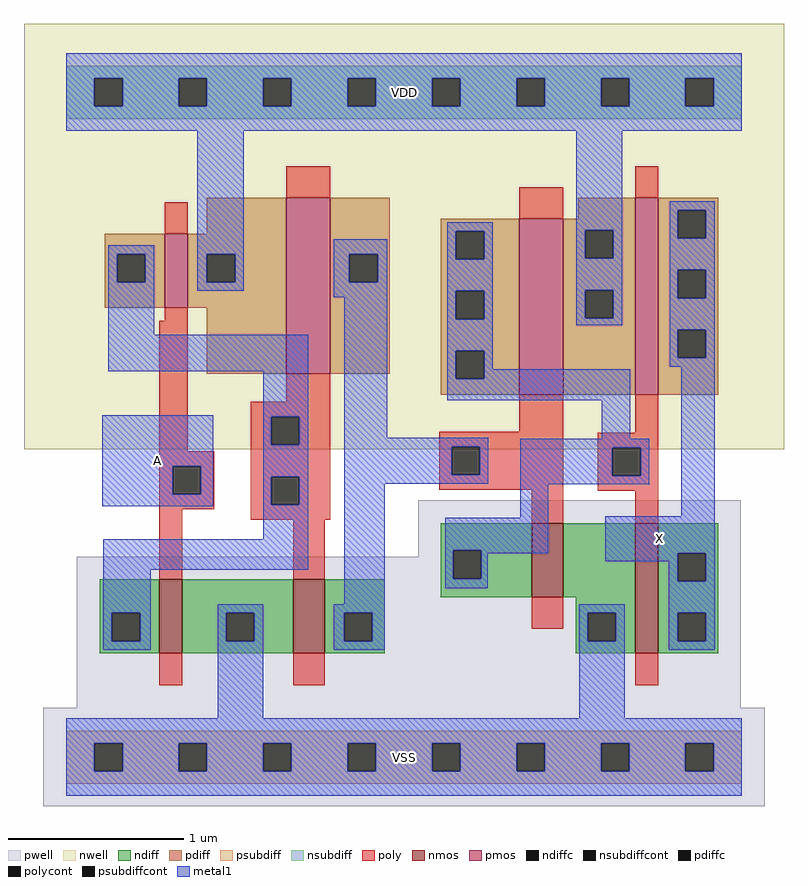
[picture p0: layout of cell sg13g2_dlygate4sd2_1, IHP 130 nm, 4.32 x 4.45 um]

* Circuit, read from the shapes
.subckt sg13g2_dlygate4sd2_1 X VDD VSS A
XM1 VSS A n1 VSS sg13_lv_nmos w=0.42u l=0.13u
XM2 n2 n1 VSS VSS sg13_lv_nmos w=0.42u l=0.18u
XM3 VSS n2 n3 VSS sg13_lv_nmos w=0.42u l=0.18u
XM4 X n3 VSS VSS sg13_lv_nmos w=0.74u l=0.13u
XM5 VDD A n1 VDD sg13_lv_pmos w=0.42u l=0.13u
XM6 n2 n1 VDD VDD sg13_lv_pmos w=1u l=0.25u
XM7 VDD n2 n3 VDD sg13_lv_pmos w=1u l=0.25u
XM8 X n3 VDD VDD sg13_lv_pmos w=1.12u l=0.13u
.ends

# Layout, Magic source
magic
tech ihp-sg13g2
magscale 1 2
<< nwell >>
rect -48 350 816 834
<< pwell >>
rect 400 228 767 292
rect 12 56 767 228
rect -26 -56 794 56
<< nmos >>
rect 106 118 132 202
rect 258 118 294 202
rect 529 182 565 266
rect 647 118 673 266
<< pmos >>
rect 112 511 138 595
rect 250 436 300 636
rect 515 412 565 612
rect 647 412 673 636
<< ndiff >>
rect 426 235 529 266
rect 426 203 440 235
rect 472 203 529 235
rect 38 164 106 202
rect 38 132 52 164
rect 84 132 106 164
rect 38 118 106 132
rect 132 164 258 202
rect 132 132 182 164
rect 214 132 258 164
rect 132 118 258 132
rect 294 164 362 202
rect 426 182 529 203
rect 565 182 647 266
rect 294 132 316 164
rect 348 132 362 164
rect 579 164 647 182
rect 294 118 362 132
rect 579 132 593 164
rect 625 132 647 164
rect 579 118 647 132
rect 673 232 741 266
rect 673 200 695 232
rect 727 200 741 232
rect 673 164 741 200
rect 673 132 695 164
rect 727 132 741 164
rect 673 118 741 132
<< pdiff >>
rect 160 595 250 636
rect 44 572 112 595
rect 44 540 58 572
rect 90 540 112 572
rect 44 511 112 540
rect 138 572 250 595
rect 138 540 160 572
rect 192 540 250 572
rect 138 511 250 540
rect 160 436 250 511
rect 300 572 368 636
rect 582 612 647 636
rect 300 540 322 572
rect 354 540 368 572
rect 300 436 368 540
rect 426 598 515 612
rect 426 566 443 598
rect 475 566 515 598
rect 426 530 515 566
rect 426 498 443 530
rect 475 498 515 530
rect 426 462 515 498
rect 426 430 443 462
rect 475 430 515 462
rect 426 412 515 430
rect 565 599 647 612
rect 565 567 590 599
rect 622 567 647 599
rect 565 531 647 567
rect 565 499 590 531
rect 622 499 647 531
rect 565 412 647 499
rect 673 622 741 636
rect 673 590 695 622
rect 727 590 741 622
rect 673 554 741 590
rect 673 522 695 554
rect 727 522 741 554
rect 673 486 741 522
rect 673 454 695 486
rect 727 454 741 486
rect 673 412 741 454
<< ndiffc >>
rect 440 203 472 235
rect 52 132 84 164
rect 182 132 214 164
rect 316 132 348 164
rect 593 132 625 164
rect 695 200 727 232
rect 695 132 727 164
<< pdiffc >>
rect 58 540 90 572
rect 160 540 192 572
rect 322 540 354 572
rect 443 566 475 598
rect 443 498 475 530
rect 443 430 475 462
rect 590 567 622 599
rect 590 499 622 531
rect 695 590 727 622
rect 695 522 727 554
rect 695 454 727 486
<< psubdiff >>
rect 0 16 768 30
rect 0 -16 32 16
rect 64 -16 128 16
rect 160 -16 224 16
rect 256 -16 320 16
rect 352 -16 416 16
rect 448 -16 512 16
rect 544 -16 608 16
rect 640 -16 704 16
rect 736 -16 768 16
rect 0 -30 768 -16
<< nsubdiff >>
rect 0 772 768 786
rect 0 740 32 772
rect 64 740 128 772
rect 160 740 224 772
rect 256 740 320 772
rect 352 740 416 772
rect 448 740 512 772
rect 544 740 608 772
rect 640 740 704 772
rect 736 740 768 772
rect 0 726 768 740
<< psubdiffcont >>
rect 32 -16 64 16
rect 128 -16 160 16
rect 224 -16 256 16
rect 320 -16 352 16
rect 416 -16 448 16
rect 512 -16 544 16
rect 608 -16 640 16
rect 704 -16 736 16
<< nsubdiffcont >>
rect 32 740 64 772
rect 128 740 160 772
rect 224 740 256 772
rect 320 740 352 772
rect 416 740 448 772
rect 512 740 544 772
rect 608 740 640 772
rect 704 740 736 772
<< poly >>
rect 250 636 300 672
rect 112 595 138 631
rect 112 496 138 511
rect 106 348 138 496
rect 515 612 565 648
rect 647 636 673 672
rect 250 404 300 436
rect 210 387 300 404
rect 210 355 233 387
rect 265 355 300 387
rect 515 370 565 412
rect 106 331 168 348
rect 106 299 121 331
rect 153 299 168 331
rect 106 282 168 299
rect 210 319 300 355
rect 210 287 233 319
rect 265 287 300 319
rect 424 353 565 370
rect 647 369 673 412
rect 424 321 438 353
rect 470 321 565 353
rect 424 304 565 321
rect 106 202 132 282
rect 210 270 300 287
rect 258 202 294 270
rect 529 266 565 304
rect 604 352 673 369
rect 604 320 621 352
rect 653 320 673 352
rect 604 303 673 320
rect 647 266 673 303
rect 529 146 565 182
rect 106 82 132 118
rect 258 82 294 118
rect 647 82 673 118
<< polycont >>
rect 233 355 265 387
rect 121 299 153 331
rect 233 287 265 319
rect 438 321 470 353
rect 621 320 653 352
<< metal1 >>
rect 0 772 768 800
rect 0 740 32 772
rect 64 740 128 772
rect 160 740 224 772
rect 256 740 320 772
rect 352 740 416 772
rect 448 740 512 772
rect 544 740 608 772
rect 640 740 704 772
rect 736 740 768 772
rect 0 712 768 740
rect 48 572 100 582
rect 48 540 58 572
rect 90 540 100 572
rect 48 480 100 540
rect 149 572 202 712
rect 433 598 485 608
rect 149 540 160 572
rect 192 540 202 572
rect 149 530 202 540
rect 304 572 365 589
rect 304 540 322 572
rect 354 540 365 572
rect 304 523 365 540
rect 48 439 275 480
rect 41 331 167 389
rect 41 299 121 331
rect 153 299 167 331
rect 41 285 167 299
rect 224 387 275 439
rect 224 355 233 387
rect 265 355 275 387
rect 224 319 275 355
rect 224 287 233 319
rect 265 287 275 319
rect 224 248 275 287
rect 42 213 275 248
rect 316 363 365 523
rect 433 566 443 598
rect 475 566 485 598
rect 433 530 485 566
rect 433 498 443 530
rect 475 498 485 530
rect 433 462 485 498
rect 580 599 632 712
rect 580 567 590 599
rect 622 567 632 599
rect 580 531 632 567
rect 580 499 590 531
rect 622 499 632 531
rect 580 491 632 499
rect 686 622 737 632
rect 686 590 695 622
rect 727 590 737 622
rect 686 554 737 590
rect 686 522 695 554
rect 727 522 737 554
rect 433 430 443 462
rect 475 441 485 462
rect 686 486 737 522
rect 686 454 695 486
rect 727 454 737 486
rect 686 444 737 454
rect 475 430 641 441
rect 433 406 641 430
rect 316 353 480 363
rect 609 362 641 406
rect 316 321 438 353
rect 470 321 480 353
rect 316 311 480 321
rect 516 352 663 362
rect 516 320 621 352
rect 653 320 663 352
rect 42 164 96 213
rect 316 174 362 311
rect 516 310 663 320
rect 516 272 548 310
rect 699 274 737 444
rect 431 235 548 272
rect 431 203 440 235
rect 472 232 548 235
rect 613 232 737 274
rect 472 203 479 232
rect 613 223 695 232
rect 431 192 479 203
rect 685 200 695 223
rect 727 200 737 232
rect 42 132 52 164
rect 84 132 96 164
rect 42 122 96 132
rect 172 164 224 174
rect 172 132 182 164
rect 214 132 224 164
rect 172 44 224 132
rect 304 164 362 174
rect 304 132 316 164
rect 348 132 362 164
rect 304 122 362 132
rect 583 164 635 174
rect 583 132 593 164
rect 625 132 635 164
rect 583 44 635 132
rect 685 164 737 200
rect 685 132 695 164
rect 727 132 737 164
rect 685 122 737 132
rect 0 16 768 44
rect 0 -16 32 16
rect 64 -16 128 16
rect 160 -16 224 16
rect 256 -16 320 16
rect 352 -16 416 16
rect 448 -16 512 16
rect 544 -16 608 16
rect 640 -16 704 16
rect 736 -16 768 16
rect 0 -44 768 -16
<< labels >>
flabel metal1 s 613 223 737 274 0 FreeSans 400 0 0 0 X
port 2 nsew
flabel metal1 s 0 712 768 800 0 FreeSans 400 0 0 0 VDD
port 3 nsew
flabel metal1 s 0 -44 768 44 0 FreeSans 400 0 0 0 VSS
port 4 nsew
flabel metal1 s 41 285 167 389 0 FreeSans 400 0 0 0 A
port 5 nsew
<< properties >>
string FIXED_BBOX 0 0 768 756
<< end >>
